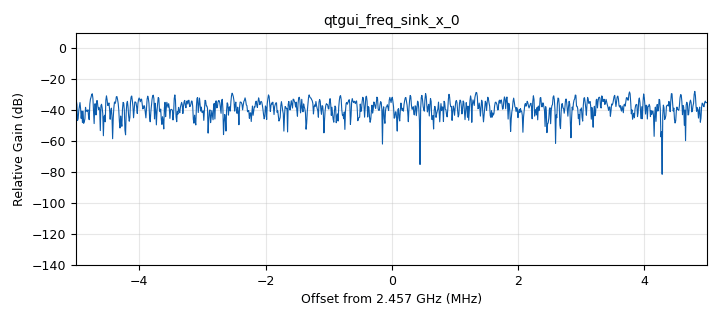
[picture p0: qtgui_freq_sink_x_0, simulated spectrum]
options:
  parameters:
    category: Custom
    generate_options: qt_gui
    id: jamming
    output_language: python
    run_options: run
  states: {}

blocks:
- name: enable_freq_sweep
  id: variable_qtgui_check_box
  parameters:
    'false': 'False'
    'true': 'True'
    type: int
    value: 'True'
  states: {}
- name: freq
  id: variable_qtgui_chooser
  parameters:
    labels: '[''  1 | 2412.0 | 11g'', ''  2 | 2417.0 | 11g'', ''  3 | 2422.0 | 11g'', ''  4 | 2427.0 | 11g'', ''  5 | 2432.0 | 11g'', ''  6 | 2437.0 | 11g'', ''  7 | 2442.0 | 11g'', ''  8 | 2447.0 | 11g'', ''  9 | 2452.0 | 11g'', '' 10 | 2457.0 | 11g'', '' 11 | 2462.0 | 11g'', '' 12 | 2467.0 | 11g'', '' 13 | 2472.0 | 11g'', '' 14 | 2484.0 | 11g'', '' 34 | 5170.0 | 11a'', '' 36 | 5180.0 | 11a'', '' 38 | 5190.0 | 11a'', '' 40 | 5200.0 | 11a'', '' 42 | 5210.0 | 11a'', '' 44 | 5220.0 | 11a'', '' 46 | 5230.0 | 11a'', '' 48 | 5240.0 | 11a'', '' 50 | 5250.0 | 11a'', '' 52 | 5260.0 | 11a'', '' 54 | 5270.0 | 11a'', '' 56 | 5280.0 | 11a'', '' 58 | 5290.0 | 11a'', '' 60 | 5300.0 | 11a'', '' 62 | 5310.0 | 11a'', '' 64 | 5320.0 | 11a'', ''100 | 5500.0 | 11a'', ''102 | 5510.0 | 11a'', ''104 | 5520.0 | 11a'', ''106 | 5530.0 | 11a'', ''108 | 5540.0 | 11a'', ''110 | 5550.0 | 11a'', ''112 | 5560.0 | 11a'', ''114 | 5570.0 | 11a'', ''116 | 5580.0 | 11a'', ''118 | 5590.0 | 11a'', ''120 | 5600.0 | 11a'', ''122 | 5610.0 | 11a'', ''124 | 5620.0 | 11a'', ''126 | 5630.0 | 11a'', ''128 | 5640.0 | 11a'', ''132 | 5660.0 | 11a'', ''134 | 5670.0 | 11a'', ''136 | 5680.0 | 11a'', ''138 | 5690.0 | 11a'', ''140 | 5700.0 | 11a'', ''142 | 5710.0 | 11a'', ''144 | 5720.0 | 11a'', ''149 | 5745.0 | 11a (SRD)'', ''151 | 5755.0 | 11a (SRD)'', ''153 | 5765.0 | 11a (SRD)'', ''155 | 5775.0 | 11a (SRD)'', ''157 | 5785.0 | 11a (SRD)'', ''159 | 5795.0 | 11a (SRD)'', ''161 | 5805.0 | 11a (SRD)'', ''165 | 5825.0 | 11a (SRD)'', ''172 | 5860.0 | 11p'', ''174 | 5870.0 | 11p'', ''176 | 5880.0 | 11p'', ''178 | 5890.0 | 11p'', ''180 | 5900.0 | 11p'', ''182 | 5910.0 | 11p'', ''184 | 5920.0 | 11p'']'
    num_opts: '0'
    options: '[2412000000.0, 2417000000.0, 2422000000.0, 2427000000.0, 2432000000.0, 2437000000.0, 2442000000.0, 2447000000.0, 2452000000.0, 2457000000.0, 2462000000.0, 2467000000.0, 2472000000.0, 2484000000.0, 5170000000.0, 5180000000.0, 5190000000.0, 5200000000.0, 5210000000.0, 5220000000.0, 5230000000.0, 5240000000.0, 5250000000.0, 5260000000.0, 5270000000.0, 5280000000.0, 5290000000.0, 5300000000.0, 5310000000.0, 5320000000.0, 5500000000.0, 5510000000.0, 5520000000.0, 5530000000.0, 5540000000.0, 5550000000.0, 5560000000.0, 5570000000.0, 5580000000.0, 5590000000.0, 5600000000.0, 5610000000.0, 5620000000.0, 5630000000.0, 5640000000.0, 5660000000.0, 5670000000.0, 5680000000.0, 5690000000.0, 5700000000.0, 5710000000.0, 5720000000.0, 5745000000.0, 5755000000.0, 5765000000.0, 5775000000.0, 5785000000.0, 5795000000.0, 5805000000.0, 5825000000.0, 5860000000.0, 5870000000.0, 5880000000.0, 5890000000.0, 5900000000.0, 5910000000.0, 5920000000.0]'
    type: real
    value: '2457000000'
  states: {}
- name: noise_gain
  id: variable_qtgui_range
  parameters:
    min_len: '20'
    start: '0'
    step: '1'
    stop: '100'
    value: '1'
  states: {}
- name: rf_gain
  id: variable_qtgui_range
  parameters:
    min_len: '14'
    start: '0'
    step: '1'
    stop: '47'
    value: '1'
  states: {}
- name: samp_rate
  id: variable_qtgui_chooser
  parameters:
    labels: '["100kHz", "1MHz", "5 MHz", "10 MHz", "20 MHz",  "25 MHz"]'
    num_opts: '0'
    options: '[100e3, 1e6, 5e6, 10e6, 20e6, 25e6]'
    type: real
    value: 10e6
  states: {}
- name: analog_noise_source_x_0
  id: analog_noise_source_x
  parameters:
    amp: noise_gain
    noise_type: analog.GR_GAUSSIAN
    seed: '0'
    type: complex
  states: {}
- name: qtgui_freq_sink_x_0
  id: qtgui_freq_sink_x
  parameters:
    bw: samp_rate
    fc: freq
    fftsize: '1024'
    type: complex
  states: {}
- name: uhd_usrp_sink_0
  id: uhd_usrp_sink
  parameters:
    ant0: '"TX/RX"'
    center_freq0: freq
    dev_addr: '"addr=192.168.10.2"'
    gain0: rf_gain
    samp_rate: samp_rate
    sync: pc_clock
    type: fc32
  states: {}

connections:
- [analog_noise_source_x_0, '0', qtgui_freq_sink_x_0, '0']
- [analog_noise_source_x_0, '0', uhd_usrp_sink_0, '0']

metadata:
  file_format: 1
  grc_version: 3.10.5.1
